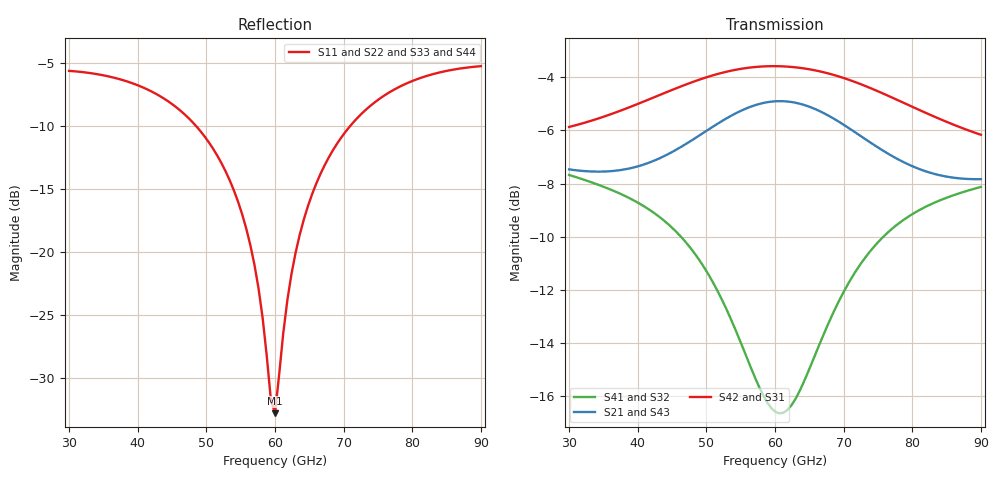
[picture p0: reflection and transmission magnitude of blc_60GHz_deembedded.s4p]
! Created with skrf 2.2.0 (http://scikit-rf.org).
# GHz S DB R 50.0
! Port[1] = P1
! Port[2] = P2
! Port[3] = P3
! Port[4] = P4
!freq dBS11 angS11 dBS12 angS12 dBS13 angS13
! dBS14 angS14
! dBS21 angS21 dBS22 angS22 dBS23 angS23
! dBS24 angS24
! dBS31 angS31 dBS32 angS32 dBS33 angS33
! dBS34 angS34
! dBS41 angS41 dBS42 angS42 dBS43 angS43
! dBS44 angS44
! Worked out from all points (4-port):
!   101 points, 30 GHz to 90 GHz, reference 50 ohm
!   strongest paths, dB at 30 GHz, 45 GHz, 60 GHz, 75 GHz, 90 GHz:
!     S42: -5.9, -4.5, -3.6, -4.5, -6.2
!     S31: -5.9, -4.5, -3.6, -4.5, -6.2
!     S21: -7.5, -6.8, -4.9, -6.6, -7.8
!     S43: -7.5, -6.8, -4.9, -6.6, -7.8
!     S41: -7.7, -9.7, -16.6, -10.2, -8.1
!     S32: -7.7, -9.7, -16.6, -10.2, -8.1
!   lowest |S11| = -32.8 dB at 60 GHz (marker M1), VSWR 1.05, Z = 52.3 - j0.524 ohm
!   |S11| at or under -10 dB: 48.51 GHz to 70.94 GHz (22.43 GHz wide, 37.6 % of centre)
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30  -5.62 159.1  -7.47 -46.6  -5.87 -81.1  -7.68 -62.9
    -7.47 -46.6  -5.62 159.1  -7.68 -62.9  -5.87 -81.1
    -5.87 -81.1  -7.68 -62.9  -5.62 159.1  -7.47 -46.6
    -7.68 -62.9  -5.87 -81.1  -7.47 -46.6  -5.62 159.1
51.6  -12.35 109.2  -5.76 -70.3  -3.89 -148.3  -12.03 -108.6
      -5.76 -70.3  -12.34 109.4  -12.02 -108.5  -3.89 -148.2
      -3.89 -148.3  -12.02 -108.5  -12.36 109.4  -5.76 -70.3
      -12.03 -108.6  -3.89 -148.2  -5.76 -70.3  -12.33 109.2
56.4  -19.42 88.8  -5.12 -81.5  -3.64 -166.2  -14.87 -109.1
      -5.12 -81.5  -19.39 89.1  -14.85 -109.0  -3.64 -166.2
      -3.64 -166.2  -14.85 -109.0  -19.46 89.1  -5.12 -81.5
      -14.87 -109.1  -3.64 -166.2  -5.12 -81.5  -19.37 88.9
60  -32.78 -12.6  -4.91 -91.3  -3.59 -180.0  -16.57 -96.1
    -4.91 -91.3  -32.94 -11.5  -16.55 -96.2  -3.59 -179.9
    -3.59 -180.0  -16.55 -96.2  -32.94 -13.8  -4.91 -91.3
    -16.57 -96.1  -3.59 -179.9  -4.91 -91.3  -32.75 -10.8
63  -20.04 -85.0  -4.96 -99.7  -3.64 168.6  -16.09 -81.4
    -4.96 -99.7  -20.09 -85.0  -16.08 -81.5  -3.63 168.6
    -3.64 168.6  -16.08 -81.5  -20.02 -85.3  -4.97 -99.7
    -16.09 -81.4  -3.63 168.6  -4.97 -99.7  -20.09 -84.7
68.4  -11.95 -108.1  -5.54 -113.4  -3.91 148.3  -12.91 -74.2
      -5.54 -113.4  -11.96 -108.1  -12.91 -74.3  -3.91 148.3
      -3.91 148.3  -12.91 -74.3  -11.94 -108.2  -5.54 -113.5
      -12.91 -74.2  -3.91 148.3  -5.54 -113.5  -11.97 -108.0
90  -5.24 -158.2  -7.84 -139.7  -6.17 79.9  -8.13 -118.5
    -7.84 -139.7  -5.25 -158.2  -8.13 -118.5  -6.17 79.9
    -6.17 79.9  -8.13 -118.5  -5.24 -158.2  -7.84 -139.8
    -8.13 -118.5  -6.17 79.9  -7.84 -139.8  -5.25 -158.2
